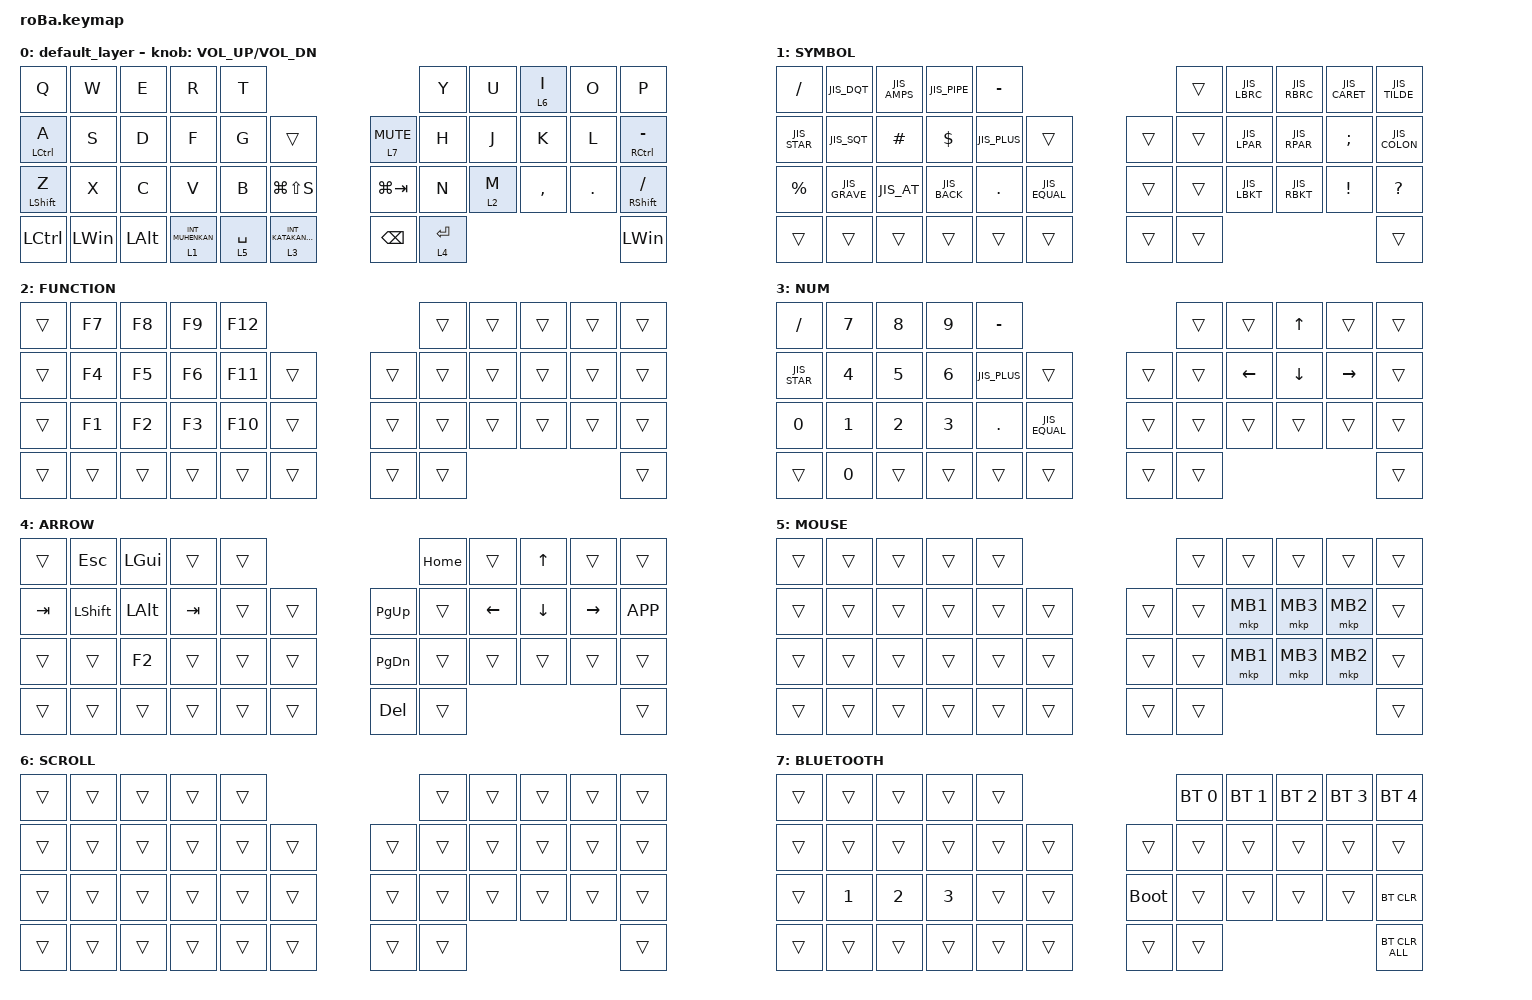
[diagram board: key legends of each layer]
#include "jis_keys.h"
#include <behaviors.dtsi>
#include <dt-bindings/zmk/bt.h>
#include <dt-bindings/zmk/keys.h>
#include <dt-bindings/zmk/pointing.h>
#include <input/processors.dtsi>
#define MOUSE 5

&mkp_input_listener {
    input-processors = <&zip_temp_layer 5 10000>;
};

&mt {
    flavor = "balanced";
    quick-tap-ms = <0>;
};

/ {
    macros {
        exit_AML: exit_AML {
            compatible = "zmk,behavior-macro";
            wait-ms = <0>;
            tap-ms = <0>;
            #binding-cells = <0>;
            bindings = <&tog_off MOUSE>;
            label = "exit_AML";
        };

        kp_exit_AML: kp_exit_AML {
            compatible = "zmk,behavior-macro-one-param";
            wait-ms = <0>;
            tap-ms = <0>;
            #binding-cells = <1>;
            bindings = <&macro_param_1to1 &kp MACRO_PLACEHOLDER &exit_AML>;
            label = "KP_exit_AML";
        };
    };

    behaviors {
        tog_off: toggle_layer_off {
            compatible = "zmk,behavior-toggle-layer";
            #binding-cells = <1>;
            display-name = "Toggle Layer Off";
            toggle-mode = "off";
        };

        mt_exit_AML_on_tap: mt_exit_AML_on_tap {
            compatible = "zmk,behavior-hold-tap";
            label = "MT_exit_AML_ON_TAP";
            bindings = <&kp>, <&kp_exit_AML>;

            #binding-cells = <2>;
            tapping-term-ms = <200>;
            flavor = "balanced";
            quick-tap-ms = <200>;
        };
    };

    combos {
        compatible = "zmk,combos";

        DEFAULT_EISU {
            bindings = <&kp JIS_EISU>;
            key-positions = <12 13>;
            layers = <0>;
        };

        DEFAULT_KANA {
            bindings = <&kp JIS_KANA>;
            key-positions = <18 19>;
            layers = <0>;
        };

        DEFAULT_UNDER {
            bindings = <&kp JIS_UNDER>;
            key-positions = <20 21>;
            layers = <0>;
        };
    };

    keymap {
        compatible = "zmk,keymap";

        default_layer {
            bindings = <
&kp Q        &kp W         &kp E         &kp R               &kp T                                                       &kp Y        &kp U    &lt 6 I    &kp O    &kp P
&mt LCTRL A  &kp S         &kp D         &kp F               &kp G        &trans                          &lt 7 C_MUTE   &kp H        &kp J    &kp K      &kp L    &mt RCTRL MINUS
&mt LSHFT Z  &kp X         &kp C         &kp V               &kp B        &kp LG(LS(S))                   &kp LG(TAB)    &kp N        &lt 2 M  &kp COMMA  &kp DOT  &mt RSHIFT SLASH
&kp LCTRL    &kp LEFT_WIN  &kp LEFT_ALT  &lt 1 INT_MUHENKAN  &lt 5 SPACE  &lt 3 INT_KATAKANAHIRAGANA      &kp BACKSPACE  &lt 4 ENTER                               &kp LEFT_WIN
            >;

            sensor-bindings = <&inc_dec_kp C_VOL_UP C_VOL_DN>;
        };

        SYMBOL {
            bindings = <
&kp SLASH     &kp JIS_DQT    &kp JIS_AMPS  &kp JIS_PIPE  &kp MINUS                                &trans  &kp JIS_LBRC  &kp JIS_RBRC  &kp JIS_CARET  &kp JIS_TILDE
&kp JIS_STAR  &kp JIS_SQT    &kp HASH      &kp DLLR      &kp JIS_PLUS  &trans             &trans  &trans  &kp JIS_LPAR  &kp JIS_RPAR  &kp SEMI       &kp JIS_COLON
&kp PRCNT     &kp JIS_GRAVE  &kp JIS_AT    &kp JIS_BACK  &kp DOT       &kp JIS_EQUAL      &trans  &trans  &kp JIS_LBKT  &kp JIS_RBKT  &kp EXCL       &kp QMARK
&trans        &trans         &trans        &trans        &trans        &trans             &trans  &trans                                             &trans
            >;
        };

        FUNCTION {
            bindings = <
&trans  &kp F7  &kp F8  &kp F9  &kp F12                      &trans  &trans  &trans  &trans  &trans
&trans  &kp F4  &kp F5  &kp F6  &kp F11  &trans      &trans  &trans  &trans  &trans  &trans  &trans
&trans  &kp F1  &kp F2  &kp F3  &kp F10  &trans      &trans  &trans  &trans  &trans  &trans  &trans
&trans  &trans  &trans  &trans  &trans   &trans      &trans  &trans                          &trans
            >;
        };

        NUM {
            bindings = <
&kp SLASH     &kp N7        &kp N8  &kp N9  &kp MINUS                                &trans  &trans    &kp UP_ARROW  &trans     &trans
&kp JIS_STAR  &kp N4        &kp N5  &kp N6  &kp JIS_PLUS  &trans             &trans  &trans  &kp LEFT  &kp DOWN      &kp RIGHT  &trans
&kp N0        &kp N1        &kp N2  &kp N3  &kp DOT       &kp JIS_EQUAL      &trans  &trans  &trans    &trans        &trans     &trans
&trans        &kp NUMBER_0  &trans  &trans  &trans        &trans             &trans  &trans                                     &trans
            >;
        };

        ARROW {
            bindings = <
&trans   &kp ESC    &kp LEFT_GUI  &trans   &trans                             &kp HOME  &trans    &kp UP_ARROW  &trans     &trans
&kp TAB  &kp LSHFT  &kp LEFT_ALT  &kp TAB  &trans  &trans      &kp PG_UP      &trans    &kp LEFT  &kp DOWN      &kp RIGHT  &kp K_APP
&trans   &trans     &kp F2        &trans   &trans  &trans      &kp PAGE_DOWN  &trans    &trans    &trans        &trans     &trans
&trans   &trans     &trans        &trans   &trans  &trans      &kp DEL        &trans                                       &trans
            >;
        };

        MOUSE {
            bindings = <
&trans   &trans  &trans  &trans  &trans                      &trans  &trans    &trans    &trans    &trans
&trans  &trans  &trans  &trans  &trans  &trans      &trans  &trans  &mkp MB1  &mkp MB3  &mkp MB2  &trans
&trans   &trans  &trans  &trans  &trans  &trans      &trans  &trans  &mkp MB1  &mkp MB3  &mkp MB2  &trans
&trans   &trans  &trans  &trans  &trans  &trans      &trans  &trans                                &trans
            >;
        };

        SCROLL {
            bindings = <
&trans  &trans  &trans  &trans  &trans                      &trans  &trans  &trans  &trans  &trans
&trans  &trans  &trans  &trans  &trans  &trans      &trans  &trans  &trans  &trans  &trans  &trans
&trans  &trans  &trans  &trans  &trans  &trans      &trans  &trans  &trans  &trans  &trans  &trans
&trans  &trans  &trans  &trans  &trans  &trans      &trans  &trans                          &trans
            >;
        };

        BLUETOOTH {
            bindings = <
&trans  &trans        &trans        &trans        &trans                           &bt BT_SEL 0  &bt BT_SEL 1  &bt BT_SEL 2  &bt BT_SEL 3  &bt BT_SEL 4
&trans  &trans        &trans        &trans        &trans  &trans      &trans       &trans        &trans        &trans        &trans        &trans
&trans  &kp NUMBER_1  &kp NUMBER_2  &kp NUMBER_3  &trans  &trans      &bootloader  &trans        &trans        &trans        &trans        &bt BT_CLR
&trans  &trans        &trans        &trans        &trans  &trans      &trans       &trans                                                  &bt BT_CLR_ALL
            >;
        };
    };
};
